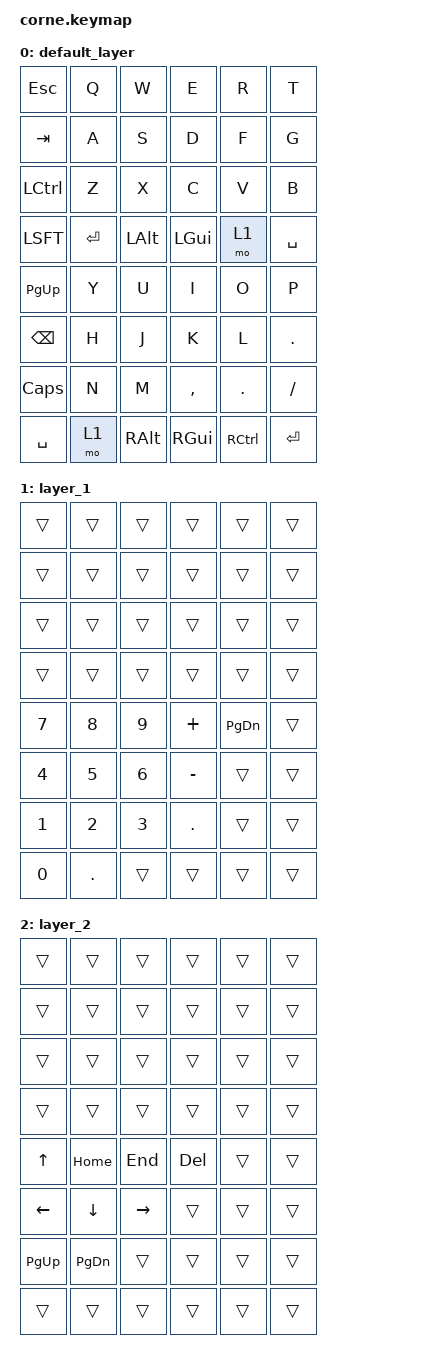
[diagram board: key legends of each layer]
/*
 * Copyright (c) 2023 Your Name
 *
 * SPDX-License-Identifier: MIT
 */

#include <dt-bindings/zmk/keys.h>
#include <dt-bindings/zmk/bt.h>
#include <dt-bindings/zmk/outputs.h>
#include <dt-bindings/zmk/mouse.h>
#include <dt-bindings/zmk/backlight.h> // For backlight behaviors

/ {
    keymap {
        compatible = "zmk,keymap";

        default_layer {
            bindings = <
                &kp ESC   &kp Q     &kp W     &kp E     &kp R     &kp T
                &kp TAB   &kp A     &kp S     &kp D     &kp F     &kp G
                &kp LCTL  &kp Z     &kp X     &kp C     &kp V     &kp B
                &kp LSFT  &kp RET   &kp LALT  &kp LGUI  &mo 1     &kp SPACE
                // Right half - assuming standard Corne layout (thumb keys below)
                &kp PG_UP &kp Y     &kp U     &kp I     &kp O     &kp P
                &kp BSPC  &kp H     &kp J     &kp K     &kp L     &kp DOT
                &kp CAPS  &kp N     &kp M     &kp COMMA &kp DOT   &kp SLASH
                &kp SPACE &mo 1     &kp RALT  &kp RGUI  &kp RCTL  &kp RET
            >;
        };

        layer_1 {
            bindings = <
                &trans &trans &trans &trans &trans &trans
                &trans &trans &trans &trans &trans &trans
                &trans &trans &trans &trans &trans &trans
                &trans &trans &trans &trans &trans &trans
                &kp N7 &kp N8 &kp N9 &kp PLUS &kp PG_DN &trans
                &kp N4 &kp N5 &kp N6 &kp MINUS &trans &trans
                &kp N1 &kp N2 &kp N3 &kp DOT   &trans &trans
                &kp N0 &kp DOT &trans &trans &trans &trans
            >;
        };

        layer_2 {
            bindings = <
                &trans &trans &trans &trans &trans &trans
                &trans &trans &trans &trans &trans &trans
                &trans &trans &trans &trans &trans &trans
                &trans &trans &trans &trans &trans &trans
                &kp UP &kp HOME &kp END &kp DEL &trans &trans
                &kp LEFT &kp DOWN &kp RIGHT &trans &trans &trans
                &kp PG_UP &kp PG_DN &trans &trans &trans &trans
                &trans &trans &trans &trans &trans &trans
            >;
        };
    };

    // Encoder definitions (mapping to layers)
    // ZMK xử lý encoder thông qua behaviors.
    // encoder_1 là tên bạn đã đặt trong .overlay
    encoders {
        compatible = "zmk,encoders";
        // LƯU Ý: Đây là ví dụ cơ bản. Logic cụ thể cho từng layer cần thêm behaviors tùy chỉnh.
        // Đối với encoder xoay (clockwise/counter-clockwise)
        encoder_1: encoder_1 {
            sensor = <&encoder_1>; // Tham chiếu đến encoder đã định nghĩa trong .overlay
            // Các bindings này sẽ áp dụng cho tất cả các layer nếu không có điều kiện layer
            // Để có hành vi khác nhau trên mỗi layer, bạn cần Behavior Objects tùy chỉnh.
            // Ví dụ: Xoay chiều kim đồng hồ tăng âm lượng, ngược chiều giảm âm lượng
            encoder-clockwise-binding = <&kp VOL_UP>;
            encoder-counter-clockwise-binding = <&kp VOL_DN>;
            // Nút nhấn của encoder (nếu nó là một nút ma trận bình thường, bạn định nghĩa nó trong keymap)
        };
    };

    // Joystick behaviors (Đây là phần phức tạp nhất)
    // ZMK không có built-in joystick handler như QMK.
    // Để có các chức năng joystick như bạn đã mô tả trong QMK (JS_ESC, JS_Q, v.v.)
    // bạn cần viết một ZMK Behavior tùy chỉnh bằng C.
    // Điều này vượt ra ngoài phạm vi của việc cấu hình các file .overlay/.keymap.
    // Hiện tại, chúng ta sẽ không định nghĩa behaviors cho joystick ở đây, vì nó cần mã C.
    // Nếu bạn muốn tiếp tục với joystick, chúng ta cần thảo luận riêng về việc tạo custom behaviors.
};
